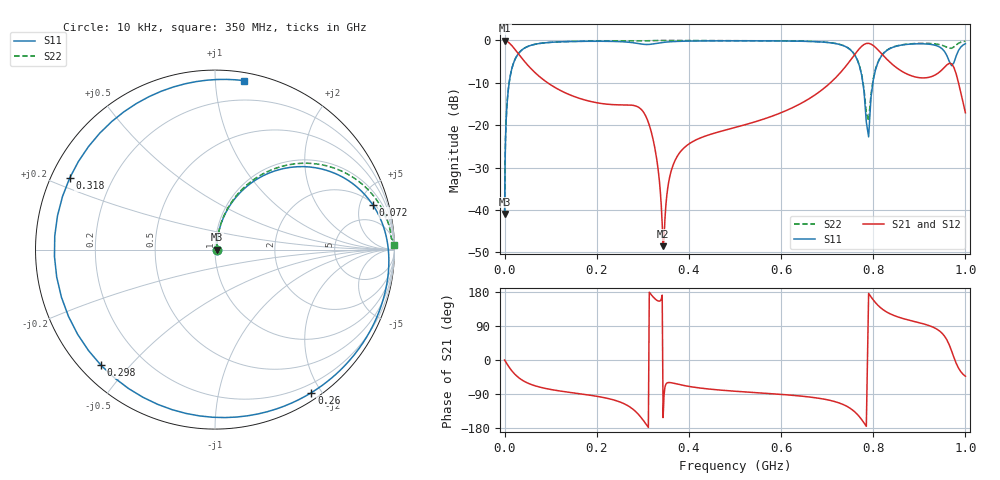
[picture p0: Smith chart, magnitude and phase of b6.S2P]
!Generated from: C:\Users\nkfzm\OneDrive - University of Missouri\Desktop\Research\PowerSI\Board 6 - GGPG\b6.spd
! Port1_ic_port_1::pwr
! Port2_decap_port_1::pwr
!Layout Workbench Version: 24.1.0.10141.541387  000
!Computer Host Name: RS29JQCX3
!TouchstoneFormatFlag = 1
! GNDNET gnd
! NETSLIST
#	Hz	Z	RI	R	1
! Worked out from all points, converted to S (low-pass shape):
!   385 points, 10 kHz to 1 GHz, reference 1 ohm
!   highest |S21| = -0.08 dB at 13.34 kHz (marker M1); lowest = -48.5 dB at 344 MHz (marker M2)
!   |S21| within 3 dB of the highest: start of sweep to 29.38 MHz; 761.6 MHz to 817.6 MHz (56.05 MHz wide, 7.1 % of centre)
!   lowest |S11| = -40.9 dB at 10 kHz (marker M3), VSWR 1.02, Z = 1.02 + j0.000701 ohm
!   |S11| at or under -10 dB: start of sweep to 9.852 MHz; 777.4 MHz to 799.2 MHz (21.89 MHz wide, 2.78 % of centre)
!   |S22| runs from -40.9 to 0.0 dB; largest |S21 - S12| = 1.5e-11
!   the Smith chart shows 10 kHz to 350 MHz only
!   S11 on the Smith chart (normalised r, x): 10 kHz: 1.02, +0.00; 72 MHz: 2.14, +6.49; 260 MHz: 0.09, -1.88; 298 MHz: 0.06, -0.42; 318 MHz: 0.05, +0.23; 350 MHz: 0.05, +1.18
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10000  -0.1023 -1.034e+05  -0.1053 -1.034e+05  -0.1053 -1.034e+05  -0.0902 -1.034e+05
13335.21  0.5466 -7.75e+04  0.543 -7.75e+04  0.543 -7.75e+04  0.5576 -7.75e+04
3500000  0.00383 -295.3  0.000124 -295.3  0.000124 -295.3  0.018 -295.1
1.3e7  0.0065 -79.37  0.000225 -79.51  0.000225 -79.51  0.0303 -78.75
7.2e7  0.0161 -13.62  0.000754 -14.39  0.000754 -14.39  0.0794 -10.18
1.68e8  0.0256 -4.417  0.00354 -6.166  0.00354 -6.166  0.1587 4.887
2.6e8  0.0345 -1.192  0.0171 -3.643  0.0171 -3.643  0.3802 19.27
2.98e8  0.0397 -0.1926  0.0389 -2.625  0.0389 -2.625  0.6911 30.58
3.18e8  0.0437 0.3154  0.0665 -1.857  0.0665 -1.857  1.075 40.66
3.34e8  0.0487 0.7324  0.1125 -0.9334  0.1125 -0.9334  1.712 53.49
3.44e8  0.0539 1.01  0.1681 -0.0653  0.1681 -0.0653  2.48 65.82
3.5e8  0.0585 1.189  0.2226 0.6512  0.2226 0.6512  3.235 76.07
5.05e8  0.0676 4.142  -0.0209 -7.232  -0.0209 -7.232  0.4152 -23.23
6.7e8  0.2564 12.06  -0.222 -11.8  -0.222 -11.8  0.3413 2.907
7.6e8  12.79 78.99  -12.76 -77.56  -12.76 -77.56  12.87 74.2
7.9e8  7.318 -54.5  -7.283 56.28  -7.283 56.28  7.402 -57.98
8.05e8  2.111 -27.52  -2.076 29.47  -2.076 29.47  2.198 -30.35
8.35e8  0.591 -12.13  -0.5565 14.39  -0.5565 14.39  0.6869 -13.63
9.25e8  0.1418 -1.465  -0.1126 4.502  -0.1126 4.502  0.295 1.662
9.6e8  0.1164 0.2397  -0.0931 2.989  -0.0931 2.989  0.3162 5.771
9.75e8  0.1106 0.8529  -0.0913 2.425  -0.0913 2.425  0.3387 7.608
1e9  0.1057 1.783  -0.096 1.515  -0.096 1.515  0.3985 10.96
